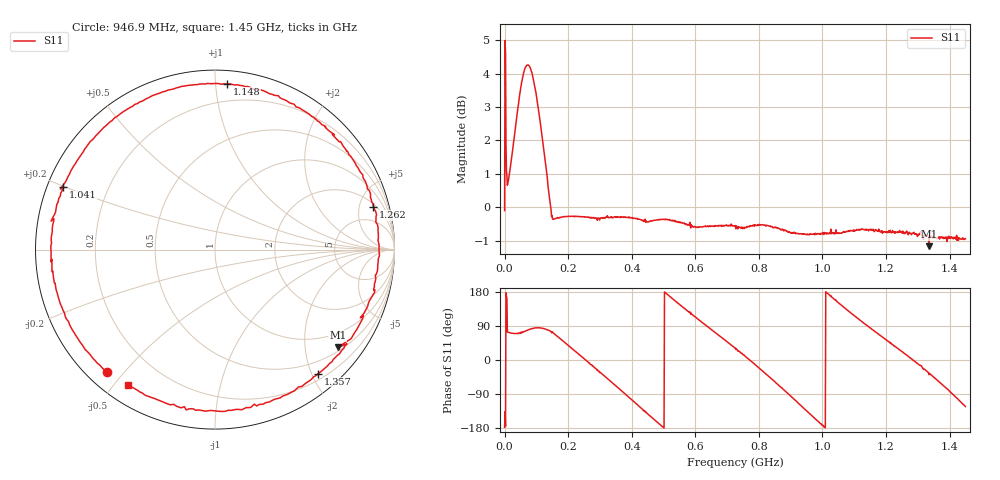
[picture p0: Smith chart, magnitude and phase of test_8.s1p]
! Created with skrf 1.11.0 (http://scikit-rf.org).
# Hz S RI R 50.0
!freq ReS11 ImS11
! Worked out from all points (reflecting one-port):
!   1001 points, 50 kHz to 1.45 GHz, reference 50 ohm
!   lowest |S11| = -1.2 dB at 1.335 GHz (marker M1), VSWR 14.90, Z = 29.7 - j137 ohm
!   phase of S11 starts at -178 deg and turns -1025 deg over the sweep
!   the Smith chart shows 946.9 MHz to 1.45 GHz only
!   S11 on the Smith chart (normalised r, x): 946.9 MHz: 0.06, -0.45; 1.041 GHz: 0.05, +0.20; 1.148 GHz: 0.08, +1.07; 1.262 GHz: 2.32, +6.76; 1.357 GHz: 0.29, -2.10; 1.45 GHz: 0.07, -0.54
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50000  -0.9874 -0.0425
1.599945e7  0.3471 1.074
6.819765e7  0.3547 1.589
1.16046e8  0.131 1.291
1.812938e8  0.5975 0.7596
2.262422e8  0.9079 0.3371
2.682908e8  0.9535 -0.1561
3.625375e8  0.2125 -0.941
4.103858e8  -0.3696 -0.8887
4.64034e8  -0.844 -0.444
5.437812e8  -0.833 0.4581
6.336782e8  -0.0219 0.9345
7.25025e8  0.7969 0.4897
8.076722e8  0.8451 -0.4131
8.584204e8  0.4139 -0.8332
9.062688e8  -0.1569 -0.9003
9.468674e8  -0.6042 -0.6807
9.947157e8  -0.8923 -0.1855
1.041114e9  -0.8443 0.3468
1.087512e9  -0.5392 0.7473
1.14841e9  0.0673 0.9238
1.203508e9  0.5713 0.7165
1.261506e9  0.883 0.2384
1.268756e9  0.8971 0.1731
1.335454e9  0.6837 -0.5448
1.357203e9  0.5763 -0.6907
1.405052e9  0.0551 -0.9015
1.45e9  -0.4856 -0.7543
